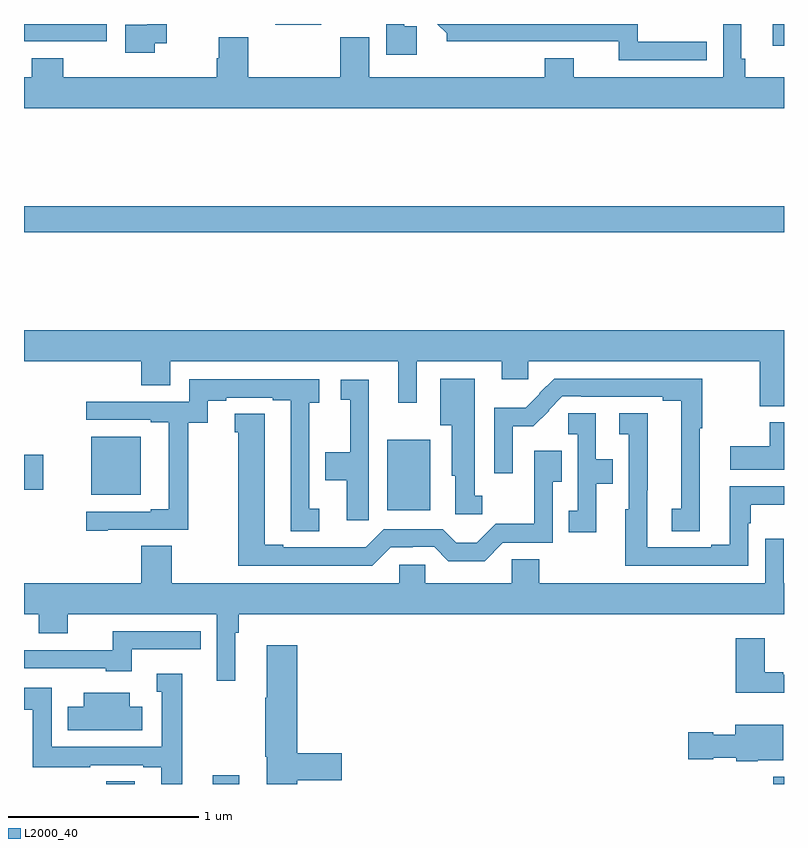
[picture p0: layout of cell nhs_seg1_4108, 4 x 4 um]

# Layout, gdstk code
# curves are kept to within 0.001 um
import gdstk
lib = gdstk.Library(unit=1e-6, precision=1e-09)
def R(c, l, rs):  # rectangles x0, y0, x1, y1
    for r in rs: c.add(gdstk.rectangle(r[:2], r[2:], *l))
def P(c, l, *ps):  # polygons
    for p in ps: c.add(gdstk.Polygon(p, *l))
L2000_40 = (2000, 40)

nhs_seg1_4108 = lib.new_cell('nhs_seg1_4108')
R(nhs_seg1_4108, L2000_40, [(335.432,524.199,335.584,524.213), (335.993,524.199,336.133,524.245), (338.944,524.199,339,524.236), (336.911,525.641,337.138,526.012), (335.354,525.722,335.614,526.027), (335,525.749,335.101,525.932), (335,527.104,339,527.24), (338.942,528.084,339,528.199), (335,528.108,335.436,528.199), (336.322,528.194,336.565,528.199)])
P(nhs_seg1_4108, L2000_40, [(338.594,528.105),(338.23,528.105),(338.23,528.199),(337.176,528.199),(337.224,528.151),(337.224,528.107),(337.658,528.107),(337.658,528.108),(338.131,528.108),(338.131,528.009),(338.594,528.009)],
  [(337.067,528.187),(337.002,528.187),(337.002,528.199),(336.906,528.199),(336.906,528.036),(337.067,528.036)],
  [(335.688,528.099),(335.75,528.099),(335.75,528.199),(335.649,528.199),(335.649,528.195),(335.532,528.195),(335.532,528.048),(335.688,528.048)],
  [(339,527.92),(338.795,527.92),(338.795,528.016),(338.776,528.016),(338.776,528.199),(338.679,528.199),(338.679,527.92),(337.894,527.92),(337.894,528.019),(337.742,528.019),(337.742,527.92),(336.817,527.92),(336.817,528.128),(336.665,528.128),(336.665,527.92),(336.179,527.92),(336.179,528.128),(336.026,528.128),(336.026,528.018),(336.014,528.018),(336.014,527.92),(335.207,527.92),(335.207,528.019),(335.042,528.019),(335.042,527.92),(335,527.92),(335,527.756),(339,527.756)],
  [(335,526.424),(335.618,526.424),(335.618,526.297),(335.77,526.297),(335.77,526.424),(336.971,526.424),(336.971,526.206),(337.068,526.206),(337.068,526.424),(337.514,526.424),(337.514,526.329),(337.653,526.329),(337.653,526.424),(338.872,526.424),(338.872,526.187),(339,526.187),(339,526.588),(335,526.588)],
  [(337.413,525.717),(337.372,525.717),(337.372,526.333),(337.19,526.333),(337.19,526.088),(337.25,526.088),(337.25,525.822),(337.271,525.822),(337.271,525.618),(337.413,525.618)],
  [(338.557,526.072),(338.569,526.072),(338.569,526.332),(337.79,526.332),(337.712,526.255),(337.715,526.253),(337.642,526.18),(337.476,526.18),(337.476,525.834),(337.572,525.834),(337.572,526.082),(337.681,526.082),(337.764,526.164),(337.761,526.167),(337.833,526.239),(337.933,526.239),(337.933,526.236),(338.363,526.236),(338.363,526.216),(338.459,526.216),(338.459,525.648),(338.409,525.648),(338.409,525.529),(338.557,525.529)],
  [(336.553,525.648),(336.501,525.648),(336.501,526.205),(336.553,526.205),(336.553,526.329),(335.871,526.329),(335.871,526.212),(335.328,526.212),(335.328,526.116),(335.666,526.116),(335.666,526.104),(335.762,526.104),(335.762,525.646),(335.666,525.646),(335.666,525.633),(335.328,525.633),(335.328,525.532),(335.44,525.532),(335.44,525.537),(335.864,525.537),(335.864,526.1),(335.968,526.1),(335.968,526.215),(336.064,526.215),(336.064,526.233),(336.308,526.233),(336.308,526.218),(336.404,526.218),(336.404,525.637),(336.405,525.637),(336.405,525.529),(336.553,525.529)],
  [(336.814,526.327),(336.666,526.327),(336.666,526.221),(336.716,526.221),(336.716,525.946),(336.586,525.946),(336.586,525.799),(336.698,525.799),(336.698,525.588),(336.814,525.588)],
  [(338.811,525.572),(338.824,525.572),(338.824,525.668),(339,525.668),(339,525.765),(338.714,525.765),(338.714,525.457),(338.618,525.457),(338.618,525.444),(338.28,525.444),(338.28,525.745),(338.282,525.745),(338.282,526.151),(338.133,526.151),(338.133,526.04),(338.184,526.04),(338.184,525.645),(338.165,525.645),(338.165,525.348),(338.811,525.348)],
  [(338.011,525.778),(338.099,525.778),(338.099,525.907),(338.01,525.907),(338.01,526.151),(337.865,526.151),(337.865,526.04),(337.914,526.04),(337.914,525.638),(337.867,525.638),(337.867,525.525),(338.011,525.525)],
  [(336.93,525.444),(337.046,525.444),(337.046,525.447),(337.158,525.447),(337.234,525.371),(337.424,525.371),(337.521,525.468),(337.782,525.468),(337.782,525.791),(337.829,525.791),(337.829,525.952),(337.686,525.952),(337.686,525.569),(337.484,525.569),(337.384,525.469),(337.274,525.469),(337.203,525.54),(336.894,525.54),(336.799,525.445),(336.364,525.444),(336.364,525.459),(336.268,525.459),(336.267,526.148),(336.11,526.148),(336.11,526.05),(336.128,526.05),(336.128,525.348),(336.834,525.348)],
  [(339,526.102),(338.924,526.102),(338.924,525.976),(338.718,525.976),(338.718,525.854),(339,525.854)],
  [(336.112,524.996),(336.131,524.996),(336.131,525.092),(339,525.092),(339,525.256),(338.999,525.256),(338.999,525.49),(338.901,525.49),(338.901,525.256),(337.713,525.256),(337.713,525.383),(337.566,525.383),(337.566,525.256),(337.113,525.256),(337.113,525.354),(336.975,525.354),(336.975,525.256),(335.778,525.256),(335.778,525.452),(335.618,525.452),(335.618,525.256),(335,525.256),(335,525.092),(335.078,525.092),(335.078,524.993),(335.23,524.993),(335.23,525.092),(336.015,525.092),(336.015,524.742),(336.112,524.742)],
  [(335.566,524.907),(335.93,524.907),(335.93,525.003),(335.467,525.003),(335.467,524.904),(335,524.904),(335,524.808),(335.43,524.808),(335.43,524.792),(335.566,524.792)],
  [(339,524.775),(338.995,524.775),(338.995,524.788),(338.899,524.788),(338.899,524.965),(338.747,524.965),(338.747,524.678),(339,524.678)],
  [(336.437,524.218),(336.673,524.218),(336.673,524.36),(336.437,524.36),(336.437,524.929),(336.278,524.929),(336.278,524.654),(336.271,524.654),(336.271,524.343),(336.278,524.343),(336.278,524.199),(336.437,524.199)],
  [(335.833,524.779),(335.699,524.779),(335.699,524.685),(335.724,524.685),(335.724,524.394),(335.145,524.394),(335.145,524.706),(335,524.706),(335,524.59),(335.047,524.59),(335.047,524.286),(335.348,524.286),(335.348,524.298),(335.627,524.298),(335.627,524.286),(335.723,524.286),(335.723,524.199),(335.833,524.199)],
  [(335.623,524.605),(335.557,524.605),(335.557,524.68),(335.315,524.68),(335.315,524.605),(335.23,524.605),(335.23,524.483),(335.623,524.483)],
  [(338.862,524.324),(338.995,524.324),(338.995,524.512),(338.744,524.512),(338.744,524.458),(338.628,524.458),(338.628,524.471),(338.496,524.471),(338.496,524.329),(338.628,524.329),(338.628,524.336),(338.748,524.336),(338.748,524.318),(338.862,524.318)])

lib.write_gds('nhs_seg1_4108.gds')
